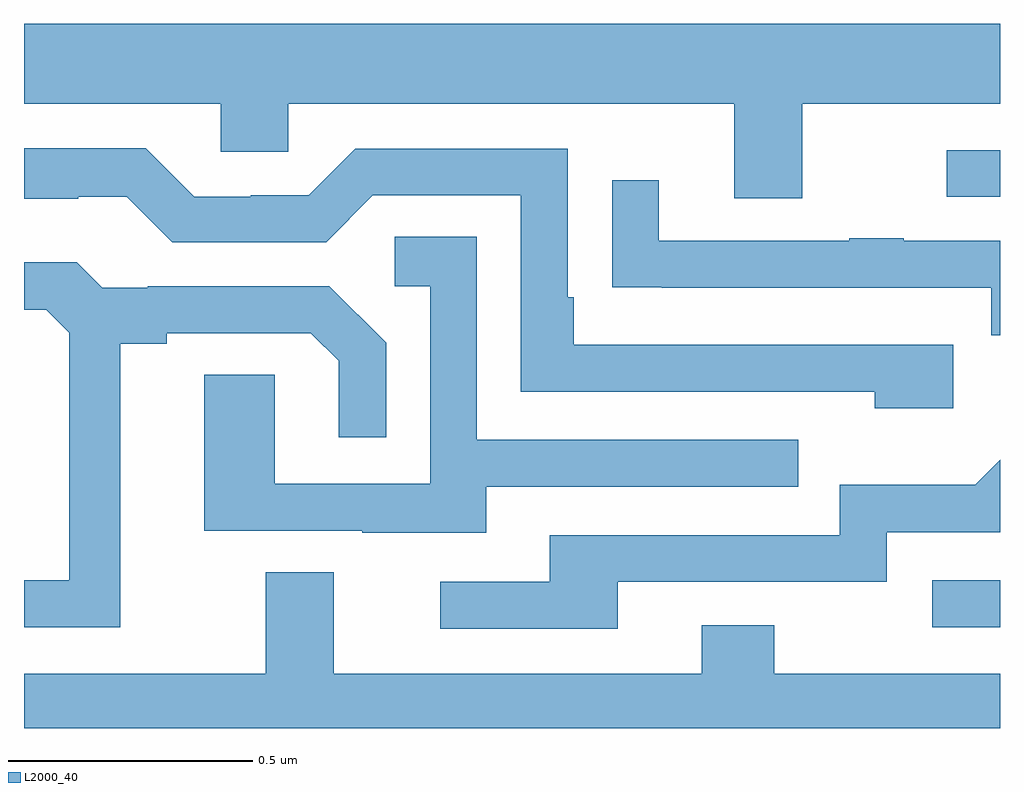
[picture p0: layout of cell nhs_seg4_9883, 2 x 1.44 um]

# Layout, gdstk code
import gdstk
lib = gdstk.Library(unit=1e-6, precision=1e-09)
def R(c, l, rs):  # rectangles x0, y0, x1, y1
    for r in rs: c.add(gdstk.rectangle(r[:2], r[2:], *l))
def P(c, l, *ps):  # polygons
    for p in ps: c.add(gdstk.Polygon(p, *l))
L2000_40 = (2000, 40)

nhs_seg4_9883 = lib.new_cell('nhs_seg4_9883')
R(nhs_seg4_9883, L2000_40, [(234.861,769.107,235,769.203), (234.891,769.989,235,770.085)])
P(nhs_seg4_9883, L2000_40, [(234.595,770.18),(235,770.18),(235,770.344),(233,770.344),(233,770.18),(233.403,770.18),(233.403,770.082),(233.541,770.082),(233.541,770.18),(234.455,770.18),(234.455,769.986),(234.595,769.986)],
  [(234.904,769.686),(234.127,769.686),(234.127,769.783),(234.114,769.783),(234.114,770.088),(233.679,770.088),(233.583,769.992),(233.465,769.992),(233.465,769.989),(233.349,769.989),(233.249,770.089),(233,770.089),(233,769.985),(233.111,769.985),(233.111,769.989),(233.211,769.989),(233.304,769.896),(233.619,769.896),(233.715,769.992),(234.018,769.992),(234.018,769.59),(234.743,769.59),(234.743,769.556),(234.904,769.556)],
  [(235,769.899),(234.803,769.899),(234.803,769.904),(234.691,769.904),(234.691,769.899),(234.301,769.899),(234.301,770.023),(234.205,770.023),(234.205,769.804),(234.307,769.804),(234.307,769.803),(234.982,769.803),(234.982,769.706),(235,769.706)],
  [(233.947,769.395),(234.587,769.395),(234.587,769.491),(233.928,769.491),(233.928,769.907),(233.76,769.907),(233.76,769.806),(233.832,769.806),(233.832,769.401),(233.514,769.401),(233.514,769.625),(233.369,769.625),(233.369,769.305),(233.693,769.305),(233.693,769.301),(233.947,769.301)],
  [(233.197,769.688),(233.293,769.688),(233.293,769.71),(233.588,769.71),(233.645,769.653),(233.645,769.497),(233.742,769.497),(233.742,769.69),(233.626,769.806),(233.254,769.806),(233.254,769.803),(233.16,769.803),(233.108,769.855),(233,769.855),(233,769.758),(233.046,769.758),(233.093,769.711),(233.093,769.203),(233,769.203),(233,769.107),(233.197,769.107)],
  [(234.217,769.2),(234.768,769.2),(234.768,769.302),(235,769.302),(235,769.45),(234.949,769.399),(234.672,769.399),(234.672,769.296),(234.077,769.296),(234.077,769.2),(233.853,769.2),(233.853,769.104),(234.217,769.104)],
  [(235,769.012),(234.537,769.012),(234.537,769.111),(234.389,769.111),(234.389,769.012),(233.635,769.012),(233.635,769.22),(233.495,769.22),(233.495,769.012),(233,769.012),(233,768.9),(235,768.9)])

lib.write_gds('nhs_seg4_9883.gds')
